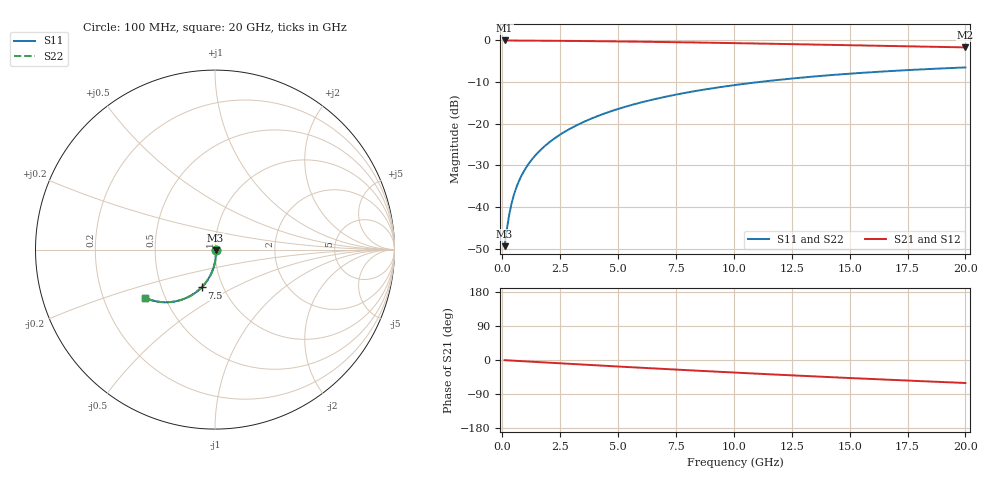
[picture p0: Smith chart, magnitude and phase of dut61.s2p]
! Touchstone file exported from HFSS 2026.1.0
!  File:  C:/ffzhzh/LocalFiles/Ansys_Project_Files/temp_train_TMRDL_61_1782881012_42304.aedt
!  Generated:  12:45:15 PM Jul  1, 2026
!  Design:  TMRDL
!  Project:  temp_train_TMRDL_61_1782881012_42304
! Variables:
!  h_bsmrdl = 2um
!  h_ox = 20um
!  h_rdl = 5um
!  h_sub = 80um
!  h_tmrdl = 5.25um
!  h_tsv = 80um
!  h_via = 3um
!  l_bsmrdl = 300um
!  l_sub = 1347.36um
!  l_tmrdl = 947.36um
!  m_sub = 200um
!  pitch = 27.92um
!  r_tsv = 6um
!  s_tmrdl = 10um
!  w_bsmrdl = 18um
!  w_sub = 500um
!  w_tmrdl = 26.64um
!  x_tsv_center1 = 960.68um
!  x_tsv_center2 = 1278.68um
!  x_tsv_center3 = 2252.68um
!  x_tsv_center4 = 2570.68um
!  x_tsv_center5 = 3544.68um
!  x_tsv_center6 = 3862.68um
# GHz S MA R 50.000000
! Terminal data exported
! Port[1] = TM_RDL1_1_T1
! Port[2] = TM_RDL1_1_T2
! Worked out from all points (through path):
!   200 points, 100 MHz to 20 GHz, reference 50 ohm
!   highest |S21| = -0.03 dB at 100 MHz (marker M1); lowest = -1.7 dB at 20 GHz (marker M2)
!   group delay of S21, straight-line fit = 8.41 ps
!   lowest |S11| = -49.3 dB at 100 MHz (marker M3), VSWR 1.01, Z = 50.3 - j0.178 ohm
!   |S11| at or under -10 dB: start of sweep to 11.07 GHz
!   |S22| runs from -49.3 to -6.5 dB; largest |S21 - S12| = 2e-14
!   S11 on the Smith chart (normalised r, x): 100 MHz: 1.01, -0.00; 7.5 GHz: 0.79, -0.35; 20 GHz: 0.39, -0.27
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0.1  0.003411 -31.2  0.9971 -0.4  0.9971 -0.4  0.003411 -31.2
! Gamma 0 0 0 0
! Port Impedance 50 0 50 0
0.2  0.005515 -47.8  0.9962 -0.8  0.9962 -0.8  0.005515 -47.8
0.3  0.008181 -57.3  0.9954 -1.2  0.9954 -1.2  0.008181 -57.3
0.4  0.01107 -63.7  0.9948 -1.5  0.9948 -1.5  0.01107 -63.7
0.5  0.01403 -68.3  0.9943 -1.9  0.9943 -1.9  0.01403 -68.3
0.6  0.01702 -71.8  0.9939 -2.2  0.9939 -2.2  0.01702 -71.8
0.7  0.02001 -74.5  0.9936 -2.6  0.9936 -2.6  0.02001 -74.5
0.8  0.02301 -76.6  0.9933 -2.9  0.9933 -2.9  0.02301 -76.6
1  0.02899 -79.9  0.9927 -3.6  0.9927 -3.6  0.02899 -79.9
1.4  0.04098 -84.2  0.9914 -5.0  0.9914 -5.0  0.04098 -84.2
1.7  0.04999 -86.4  0.9904 -6.1  0.9904 -6.1  0.04999 -86.4
2  0.05905 -88.2  0.9891 -7.1  0.9891 -7.1  0.05905 -88.2
2.7  0.08032 -91.7  0.9858 -9.5  0.9858 -9.5  0.08032 -91.7
3.5  0.1048 -95.0  0.9813 -12.2  0.9813 -12.2  0.1048 -95.1
4.2  0.1262 -97.8  0.9768 -14.6  0.9768 -14.6  0.1262 -97.8
5  0.1505 -100.7  0.9711 -17.2  0.9711 -17.2  0.1505 -100.7
6.8  0.2037 -107.1  0.9568 -23.1  0.9568 -23.1  0.2037 -107.2
7.5  0.2236 -109.5  0.9507 -25.3  0.9507 -25.3  0.2236 -109.6
10.1  0.2926 -118.1  0.9259 -33.4  0.9259 -33.4  0.2926 -118.1
13.4  0.3675 -128.0  0.8913 -43.1  0.8913 -43.1  0.3674 -128.1
16.7  0.4275 -137.1  0.8562 -52.2  0.8562 -52.2  0.4275 -137.2
20  0.4736 -145.5  0.8233 -60.6  0.8233 -60.6  0.4735 -145.6
